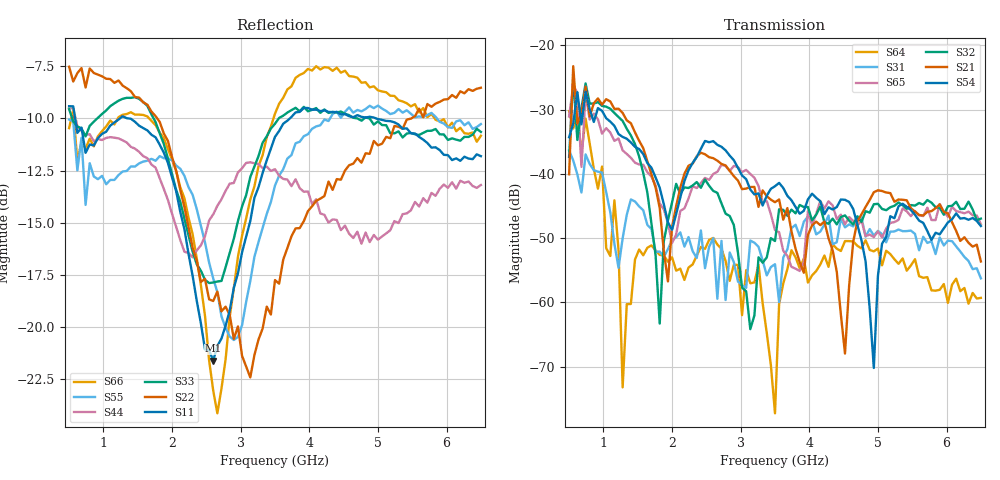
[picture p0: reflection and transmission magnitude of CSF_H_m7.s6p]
!Keysight Technologies,M9804A,MY58100912,A.14.10.03
!Date: Thursday, April 27, 2023 10:28:33
!Correction: S11(C  6-Port  )
!S12(C  6-Port  )
!S13(C  6-Port  )
!S14(C  6-Port  )
!S15(C  6-Port  )
!S16(C  6-Port  )
!S21(C  6-Port  )
!S22(C  6-Port  )
!S23(C  6-Port  )
!S24(C  6-Port  )
!S25(C  6-Port  )
!S26(C  6-Port  )
!S31(C  6-Port  )
!S32(C  6-Port  )
!S33(C  6-Port  )
!S34(C  6-Port  )
!S35(C  6-Port  )
!S36(C  6-Port  )
!S41(C  6-Port  )
!S42(C  6-Port  )
!S43(C  6-Port  )
!S44(C  6-Port  )
!S45(C  6-Port  )
!S46(C  6-Port  )
!S51(C  6-Port  )
!S52(C  6-Port  )
!S53(C  6-Port  )
!S54(C  6-Port  )
!S55(C  6-Port  )
!S56(C  6-Port  )
!S61(C  6-Port  )
!S62(C  6-Port  )
!S63(C  6-Port  )
!S64(C  6-Port  )
!S65(C  6-Port  )
!S66(C  6-Port  )
!S6P File: Measurement: :
# Hz S  RI  R 50
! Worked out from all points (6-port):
!   101 points, 500 MHz to 6.5 GHz, reference 50 ohm
!   strongest paths, dB at 500 MHz, 2 GHz, 3.5 GHz, 5 GHz, 6.5 GHz:
!     S54: -34.3, -48.7, -41.9, -55.8, -48.1
!     S21: -40.1, -48.2, -44.4, -42.6, -53.6
!     S32: -37.4, -44.4, -50.4, -44.7, -47.0
!     S65: -31.1, -50.7, -48.7, -49.0, -47.9
!     S31: -36.4, -50.3, -54.0, -48.9, -56.2
!     S64: -30.2, -53.0, -77.2, -51.6, -59.3
!   lowest |S11| = -21.6 dB at 2.6 GHz (marker M1), VSWR 1.18, Z = 42.6 + j2.04 ohm
!   |S11| at or under -10 dB: 587.4 MHz to 1.239 GHz (652 MHz wide, 71.4 % of centre); 1.37 GHz to 3.715 GHz (2.346 GHz wide, 92.3 % of centre); 4.975 GHz to end of sweep
